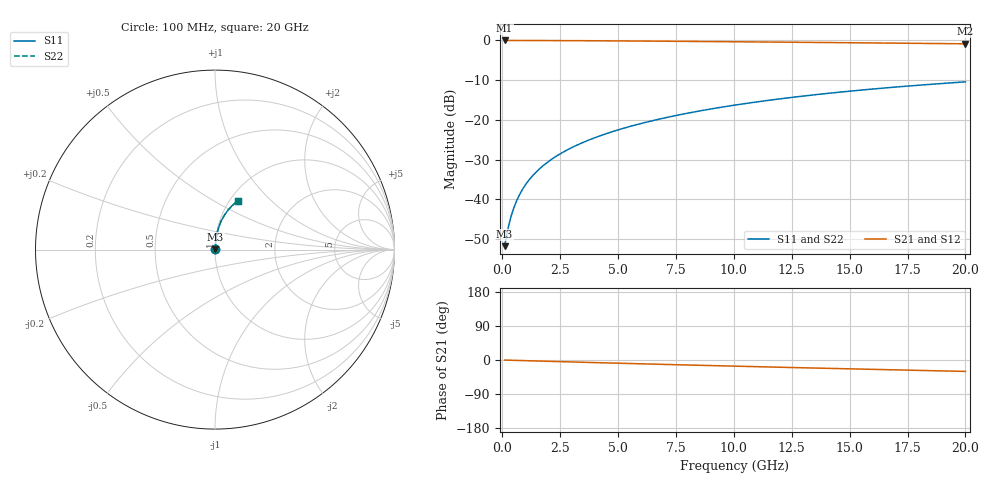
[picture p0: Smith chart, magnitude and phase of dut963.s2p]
! Touchstone file exported from HFSS 2024.1.0
!  File:  C:/UserFiles/LocalFiles/RDL_TSV_Batchsim/temp_RDL_top_963_1779938536.aedt
!  Generated:  11:24:32 AM May 28, 2026
!  Design:  RDL_top
!  Project:  temp_RDL_top_963_1779938536
!  Setup:  Setup1
!  Solution:  Sweep
! Variables:
!  dtsv = 10.80580581um
!  hbump = 3um
!  htsv = 57.03um
!  ldown = 100um
!  lrdl = 432.79um
!  p = 40
!  p1 = 41.9um
!  rhole = 1um
!  t = 450um
!  tdown = 3.915915916um
!  trdl = 4.69um
!  wdown = 15.38538539um
!  wrdl = 17.29um
# GHz S MA R 50.000000
! Terminal data exported
! Port[1] = Box2_T1
! Port[2] = Box2_T2
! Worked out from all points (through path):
!   200 points, 100 MHz to 20 GHz, reference 50 ohm
!   highest |S21| = -0.02 dB at 100 MHz (marker M1); lowest = -0.9 dB at 20 GHz (marker M2)
!   group delay of S21, straight-line fit = 4.15 ps
!   lowest |S11| = -51.8 dB at 100 MHz (marker M3), VSWR 1.01, Z = 50.2 + j0.161 ohm
!   |S11| at or under -10 dB: start of sweep to end of sweep
!   |S22| runs from -51.8 to -10.4 dB; largest |S21 - S12| = 3.7e-15
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0.1  0.002583 38.4  0.998 -0.2  0.998 -0.2  0.002583 38.4
! Gamma 0 0 0 0
! Port Impedance 50 0 50 0
0.2  0.003678 57.2  0.9979 -0.4  0.9979 -0.4  0.003679 57.3
0.3  0.005005 66.5  0.9978 -0.5  0.9978 -0.5  0.005007 66.5
0.4  0.006417 71.6  0.9976 -0.7  0.9976 -0.7  0.006419 71.6
0.5  0.007866 74.8  0.9975 -0.9  0.9975 -0.9  0.007868 74.8
0.6  0.009333 77.0  0.9974 -1.1  0.9974 -1.1  0.009336 77.0
0.8  0.01229 79.6  0.9972 -1.4  0.9972 -1.4  0.0123 79.6
1.1  0.01674 81.7  0.9969 -1.9  0.9969 -1.9  0.01675 81.7
1.3  0.01971 82.4  0.9966 -2.3  0.9966 -2.3  0.01971 82.4
1.5  0.02267 83.0  0.9963 -2.6  0.9963 -2.6  0.02267 83.0
1.8  0.0271 83.5  0.9957 -3.1  0.9957 -3.1  0.02711 83.5
2.1  0.03153 83.8  0.9951 -3.7  0.9951 -3.7  0.03153 83.8
2.7  0.04039 84.1  0.9936 -4.7  0.9936 -4.7  0.04039 84.1
3.5  0.05228 84.1  0.9911 -6.0  0.9911 -6.0  0.05228 84.1
4.2  0.06278 83.9  0.9886 -7.2  0.9886 -7.2  0.06278 83.9
5  0.07491 83.5  0.9854 -8.5  0.9854 -8.5  0.07491 83.5
6.8  0.1027 82.1  0.9774 -11.4  0.9774 -11.4  0.1027 82.1
8.4  0.1277 80.5  0.9696 -13.8  0.9696 -13.8  0.1277 80.5
10.1  0.1544 78.4  0.961 -16.4  0.961 -16.4  0.1544 78.4
13.4  0.2057 74.0  0.9434 -21.1  0.9434 -21.1  0.2057 74.0
16.7  0.2548 69.4  0.9251 -25.7  0.9251 -25.7  0.2548 69.4
20  0.3009 64.9  0.9063 -30.1  0.9063 -30.1  0.3009 64.9
